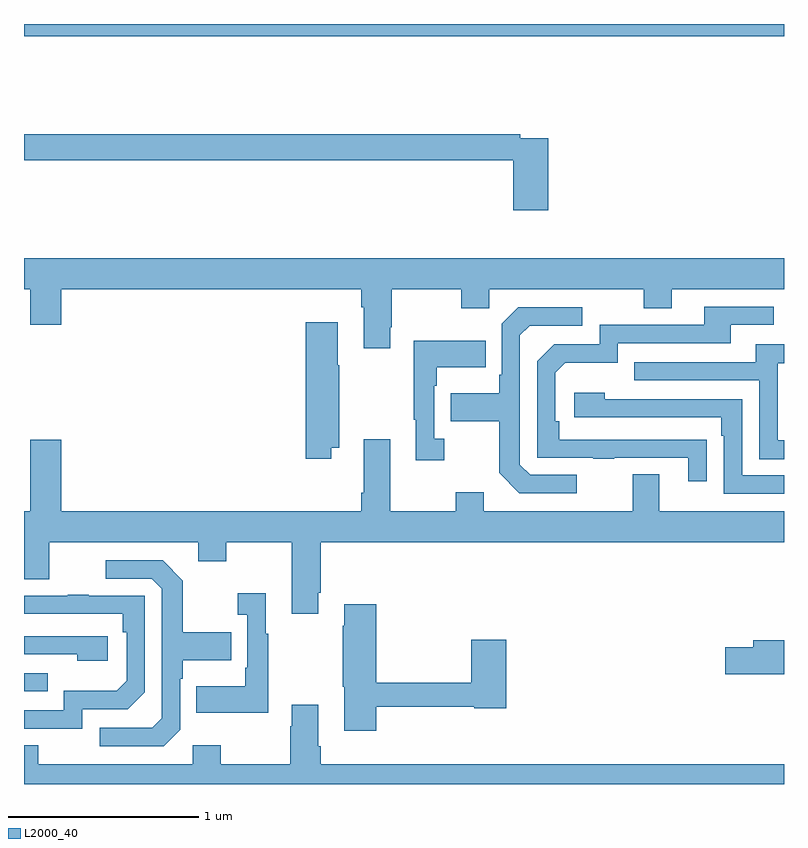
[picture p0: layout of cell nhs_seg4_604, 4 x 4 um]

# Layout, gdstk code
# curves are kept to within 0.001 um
import gdstk
lib = gdstk.Library(unit=1e-6, precision=1e-09)
def R(c, l, rs):  # rectangles x0, y0, x1, y1
    for r in rs: c.add(gdstk.rectangle(r[:2], r[2:], *l))
def P(c, l, *ps):  # polygons
    for p in ps: c.add(gdstk.Polygon(p, *l))
L2000_40 = (2000, 40)

nhs_seg4_604 = lib.new_cell('nhs_seg4_604')
R(nhs_seg4_604, L2000_40, [(141,777.387,141.125,777.483), (141,780.836,145,780.9)])
P(nhs_seg4_604, L2000_40, [(143.759,780.3),(143.612,780.3),(143.612,780.32),(141,780.32),(141,780.184),(143.576,780.184),(143.576,779.919),(143.759,779.919)],
  [(142.927,779.305),(142.935,779.305),(142.935,779.504),(143.302,779.504),(143.302,779.405),(143.448,779.405),(143.448,779.504),(144.262,779.504),(144.262,779.405),(144.409,779.405),(144.409,779.504),(145,779.504),(145,779.668),(141,779.668),(141,779.504),(141.032,779.504),(141.032,779.316),(141.196,779.316),(141.196,779.504),(142.775,779.504),(142.775,779.408),(142.787,779.408),(142.787,779.193),(142.927,779.193)],
  [(144.593,778.712),(143.816,778.713),(143.816,778.81),(143.796,778.81),(143.796,779.064),(143.849,779.117),(144.126,779.117),(144.126,779.22),(144.721,779.22),(144.721,779.316),(144.946,779.316),(144.946,779.412),(144.581,779.412),(144.581,779.316),(144.03,779.316),(144.03,779.214),(143.79,779.214),(143.7,779.124),(143.7,778.617),(143.995,778.617),(143.995,778.612),(144.107,778.612),(144.107,778.617),(144.497,778.617),(144.497,778.494),(144.593,778.494)],
  [(143.908,778.527),(143.664,778.527),(143.61,778.581),(143.61,779.262),(143.661,779.313),(143.938,779.313),(143.938,779.409),(143.601,779.409),(143.514,779.322),(143.514,779.053),(143.502,779.053),(143.502,778.957),(143.245,778.957),(143.245,778.81),(143.502,778.81),(143.502,778.537),(143.607,778.431),(143.908,778.431)],
  [(142.618,778.67),(142.659,778.67),(142.659,779.105),(142.651,779.105),(142.651,779.329),(142.484,779.329),(142.484,778.611),(142.618,778.611)],
  [(143.212,778.718),(143.16,778.718),(143.16,778.997),(143.173,778.997),(143.173,779.093),(143.429,779.093),(143.429,779.233),(143.052,779.233),(143.052,778.817),(143.063,778.817),(143.063,778.605),(143.212,778.605)],
  [(145,778.71),(144.966,778.71),(144.966,779.115),(145,779.115),(145,779.215),(144.851,779.215),(144.851,779.121),(144.211,779.121),(144.211,779.025),(144.87,779.025),(144.87,778.609),(145,778.609)],
  [(145,778.524),(144.78,778.524),(144.78,778.926),(144.056,778.926),(144.056,778.96),(143.895,778.96),(143.895,778.83),(144.671,778.83),(144.671,778.733),(144.684,778.733),(144.684,778.428),(145,778.428)],
  [(142.549,777.907),(142.562,777.907),(142.562,778.172),(145,778.172),(145,778.336),(144.343,778.336),(144.343,778.531),(144.203,778.531),(144.203,778.336),(143.419,778.336),(143.419,778.435),(143.272,778.435),(143.272,778.336),(142.927,778.336),(142.927,778.714),(142.787,778.714),(142.787,778.432),(142.775,778.432),(142.775,778.336),(141.196,778.336),(141.196,778.711),(141.032,778.711),(141.032,778.336),(141,778.336),(141,777.978),(141.133,777.978),(141.133,778.172),(141.917,778.172),(141.917,778.073),(142.065,778.073),(142.065,778.172),(142.409,778.172),(142.409,777.795),(142.549,777.795)],
  [(141.822,777.186),(141.822,777.455),(141.835,777.455),(141.835,777.551),(142.091,777.551),(142.091,777.699),(141.835,777.699),(141.835,777.971),(141.729,778.077),(141.429,778.077),(141.429,777.981),(141.672,777.981),(141.726,777.927),(141.726,777.246),(141.675,777.195),(141.399,777.195),(141.399,777.099),(141.735,777.099)],
  [(142.285,777.691),(142.273,777.691),(142.273,777.904),(142.125,777.904),(142.125,777.791),(142.176,777.791),(142.176,777.511),(142.164,777.511),(142.164,777.415),(141.907,777.415),(141.907,777.275),(142.285,777.275)],
  [(141.306,777.294),(141.546,777.294),(141.636,777.384),(141.636,777.891),(141.341,777.891),(141.341,777.896),(141.229,777.896),(141.229,777.891),(141,777.891),(141,777.795),(141.52,777.795),(141.52,777.698),(141.54,777.698),(141.54,777.444),(141.487,777.391),(141.21,777.391),(141.21,777.288),(141,777.288),(141,777.192),(141.306,777.192)],
  [(142.853,777.306),(143.37,777.306),(143.37,777.298),(143.537,777.298),(143.537,777.658),(143.354,777.658),(143.354,777.434),(142.853,777.434),(142.853,777.847),(142.685,777.847),(142.685,777.734),(142.678,777.734),(142.678,777.411),(142.685,777.411),(142.685,777.18),(142.853,777.18)],
  [(141.442,777.678),(141,777.678),(141,777.582),(141.281,777.582),(141.281,777.548),(141.442,777.548)],
  [(145,777.656),(144.839,777.656),(144.839,777.62),(144.69,777.62),(144.69,777.478),(145,777.478)],
  [(145,777.004),(142.562,777.004),(142.562,777.1),(142.549,777.1),(142.549,777.316),(142.409,777.316),(142.409,777.203),(142.402,777.203),(142.402,777.004),(142.035,777.004),(142.035,777.103),(141.888,777.103),(141.888,777.004),(141.075,777.004),(141.075,777.103),(141,777.103),(141,776.9),(145,776.9)])

lib.write_gds('nhs_seg4_604.gds')
